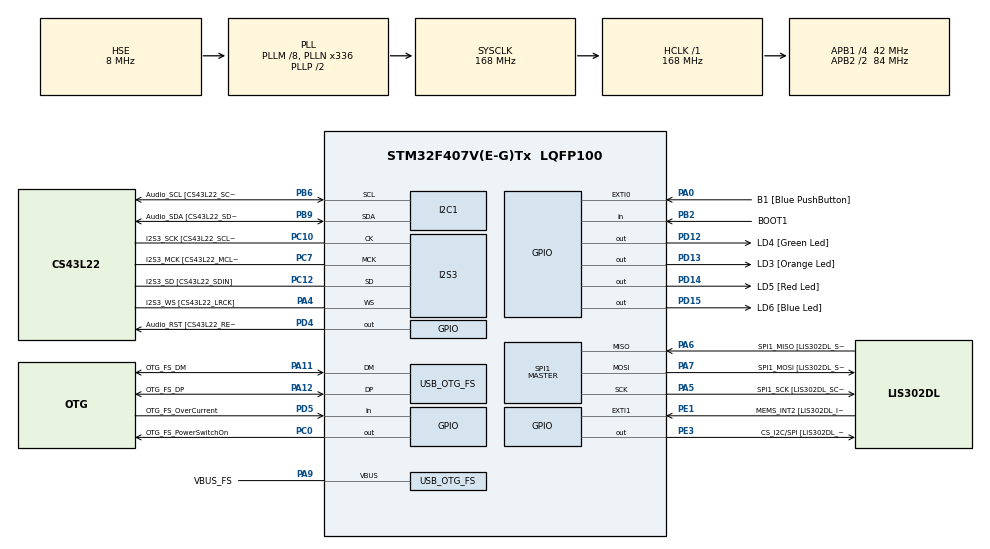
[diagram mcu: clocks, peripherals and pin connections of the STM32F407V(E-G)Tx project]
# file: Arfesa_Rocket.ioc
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I2S3.AudioFreq-Half_Duplex_Master=I2S_AUDIOFREQ_96K
I2S3.ErrorAudioFreq=-2.34 %
I2S3.ErrorAudioFreq-Half_Duplex_Master=0.8 %
I2S3.FullDuplexMode=I2S_FULLDUPLEXMODE_DISABLE
I2S3.Instance=SPI$Index
I2S3.RealAudioFreq=93.75 KHz
I2S3.RealAudioFreq-Half_Duplex_Master=96.774 KHz
I2S3.VirtualMode=I2S_MODE_MASTER
Mcu.Family=STM32F4
Mcu.Name=STM32F407V(E-G)Tx
Mcu.Package=LQFP100
NVIC.OTG_FS_IRQn=true\:0\:0\:false\:false\:true\:true\:true\:true
NVIC.PriorityGroup=NVIC_PRIORITYGROUP_0
PA0-WKUP.GPIO_Label=B1 [Blue PushButton]
PA0-WKUP.GPIO_ModeDefaultEXTI=GPIO_MODE_EVT_RISING
PA0-WKUP.GPIO_PuPd=GPIO_NOPULL
PA0-WKUP.Signal=GPXTI0
PA10.GPIO_Label=OTG_FS_ID
PA10.GPIO_Mode=GPIO_MODE_AF_PP
PA10.GPIO_PuPd=GPIO_NOPULL
PA10.GPIO_Speed=GPIO_SPEED_FREQ_LOW
PA10.Signal=USB_OTG_FS_ID
PA11.GPIO_Label=OTG_FS_DM
PA11.GPIO_Mode=GPIO_MODE_AF_PP
PA11.GPIO_PuPd=GPIO_NOPULL
PA11.GPIO_Speed=GPIO_SPEED_FREQ_LOW
PA11.Mode=Host_Only
PA11.Signal=USB_OTG_FS_DM
PA12.GPIO_Label=OTG_FS_DP
PA12.GPIO_Mode=GPIO_MODE_AF_PP
PA12.GPIO_PuPd=GPIO_NOPULL
PA12.GPIO_Speed=GPIO_SPEED_FREQ_LOW
PA12.Mode=Host_Only
PA12.Signal=USB_OTG_FS_DP
PA13.GPIO_Label=SWDIO
PA13.Mode=Serial_Wire
PA13.Signal=SYS_JTMS-SWDIO
PA14.GPIO_Label=SWCLK
PA14.Mode=Serial_Wire
PA14.Signal=SYS_JTCK-SWCLK
PA4.GPIO_Label=I2S3_WS [CS43L22_LRCK]
PA4.GPIO_Mode=GPIO_MODE_AF_PP
PA4.GPIO_PuPd=GPIO_NOPULL
PA4.GPIO_Speed=GPIO_SPEED_FREQ_LOW
PA4.Mode=Half_Duplex_Master
PA4.Signal=I2S3_WS
PA5.GPIO_Label=SPI1_SCK [LIS302DL_SCL/SPC]
PA5.GPIO_Mode=GPIO_MODE_AF_PP
PA5.GPIO_PuPd=GPIO_NOPULL
PA5.GPIO_Speed=GPIO_SPEED_FREQ_LOW
PA5.Mode=Full_Duplex_Master
PA5.Signal=SPI1_SCK
PA6.GPIO_Label=SPI1_MISO [LIS302DL_SDO]
PA6.GPIO_Mode=GPIO_MODE_AF_PP
PA6.GPIO_PuPd=GPIO_NOPULL
PA6.GPIO_Speed=GPIO_SPEED_FREQ_LOW
PA6.Mode=Full_Duplex_Master
PA6.Signal=SPI1_MISO
PA7.GPIO_Label=SPI1_MOSI [LIS302DL_SDA/SDI/SDO]
PA7.GPIO_Mode=GPIO_MODE_AF_PP
PA7.GPIO_PuPd=GPIO_NOPULL
PA7.GPIO_Speed=GPIO_SPEED_FREQ_LOW
PA7.Mode=Full_Duplex_Master
PA7.Signal=SPI1_MOSI
PA9.GPIO_Label=VBUS_FS
PA9.GPIO_Mode=GPIO_MODE_INPUT
PA9.GPIO_PuPd=GPIO_NOPULL
PA9.Mode=Activate_VBUS
PA9.Signal=USB_OTG_FS_VBUS
PB10.GPIO_Label=CLK_IN [MP45DT02_CLK]
PB10.GPIO_Mode=GPIO_MODE_AF_PP
PB10.GPIO_PuPd=GPIO_NOPULL
PB10.GPIO_Speed=GPIO_SPEED_FREQ_LOW
PB10.Signal=I2S2_CK
PB2.GPIO_Label=BOOT1
PB2.GPIO_Mode=GPIO_MODE_INPUT
PB2.GPIO_PuPd=GPIO_NOPULL
PB2.Signal=GPIO_Input
PB3.GPIO_Label=SWO
PB3.Signal=SYS_JTDO-SWO
PB6.GPIO_Label=Audio_SCL [CS43L22_SCL]
PB6.GPIO_Mode=GPIO_MODE_AF_OD
PB6.GPIO_Pu=GPIO_PULLUP
PB6.GPIO_PuPd=GPIO_NOPULL
PB6.GPIO_Speed=GPIO_SPEED_FREQ_LOW
PB6.Mode=I2C
PB6.Signal=I2C1_SCL
PB9.GPIO_Label=Audio_SDA [CS43L22_SDA]
PB9.GPIO_Mode=GPIO_MODE_AF_OD
PB9.GPIO_Pu=GPIO_PULLUP
PB9.GPIO_PuPd=GPIO_NOPULL
PB9.GPIO_Speed=GPIO_SPEED_FREQ_LOW
PB9.Mode=I2C
PB9.Signal=I2C1_SDA
PC0.GPIO_Label=OTG_FS_PowerSwitchOn
PC0.GPIO_PuPd=GPIO_NOPULL
PC0.GPIO_Speed=GPIO_SPEED_FREQ_LOW
PC0.PinState=GPIO_PIN_SET
PC0.Signal=GPIO_Output
PC10.GPIO_Label=I2S3_SCK [CS43L22_SCLK]
PC10.GPIO_Mode=GPIO_MODE_AF_PP
PC10.GPIO_PuPd=GPIO_NOPULL
PC10.GPIO_Speed=GPIO_SPEED_FREQ_LOW
PC10.Mode=Half_Duplex_Master
PC10.Signal=I2S3_CK
PC12.GPIO_Label=I2S3_SD [CS43L22_SDIN]
PC12.GPIO_Mode=GPIO_MODE_AF_PP
PC12.GPIO_PuPd=GPIO_NOPULL
PC12.GPIO_Speed=GPIO_SPEED_FREQ_LOW
PC12.Mode=Half_Duplex_Master
PC12.Signal=I2S3_SD
PC14-OSC32_IN.GPIO_Label=PC14-OSC32_IN
PC14-OSC32_IN.Mode=LSE-External-Oscillator
PC14-OSC32_IN.Signal=RCC_OSC32_IN
PC15-OSC32_OUT.GPIO_Label=PC15-OSC32_OUT
PC15-OSC32_OUT.Mode=LSE-External-Oscillator
PC15-OSC32_OUT.Signal=RCC_OSC32_OUT
PC3.GPIO_Label=PDM_OUT [MP45DT02_DOUT]
PC3.GPIO_Mode=GPIO_MODE_AF_PP
PC3.GPIO_PuPd=GPIO_NOPULL
PC3.GPIO_Speed=GPIO_SPEED_FREQ_LOW
PC3.Signal=I2S2_SD
PC7.GPIO_Label=I2S3_MCK [CS43L22_MCLK]
PC7.GPIO_Mode=GPIO_MODE_AF_PP
PC7.GPIO_PuPd=GPIO_NOPULL
PC7.GPIO_Speed=GPIO_SPEED_FREQ_LOW
PC7.Mode=Master_Clock_Activated
PC7.Signal=I2S3_MCK
PD12.GPIO_Label=LD4 [Green Led]
PD12.GPIO_PuPd=GPIO_NOPULL
PD12.GPIO_Speed=GPIO_SPEED_FREQ_LOW
PD12.Signal=GPIO_Output
PD13.GPIO_Label=LD3 [Orange Led]
PD13.GPIO_PuPd=GPIO_NOPULL
PD13.GPIO_Speed=GPIO_SPEED_FREQ_LOW
PD13.Signal=GPIO_Output
PD14.GPIO_Label=LD5 [Red Led]
PD14.GPIO_PuPd=GPIO_NOPULL
PD14.GPIO_Speed=GPIO_SPEED_FREQ_LOW
PD14.Signal=GPIO_Output
PD15.GPIO_Label=LD6 [Blue Led]
PD15.GPIO_PuPd=GPIO_NOPULL
PD15.GPIO_Speed=GPIO_SPEED_FREQ_LOW
PD15.Signal=GPIO_Output
PD4.GPIO_Label=Audio_RST [CS43L22_RESET]
PD4.GPIO_PuPd=GPIO_NOPULL
PD4.GPIO_Speed=GPIO_SPEED_FREQ_LOW
PD4.Signal=GPIO_Output
PD5.GPIO_Label=OTG_FS_OverCurrent
PD5.GPIO_Mode=GPIO_MODE_INPUT
PD5.GPIO_PuPd=GPIO_NOPULL
PD5.Signal=GPIO_Input
PE1.GPIO_Label=MEMS_INT2 [LIS302DL_INT2]
PE1.GPIO_ModeDefaultEXTI=GPIO_MODE_EVT_RISING
PE1.GPIO_PuPd=GPIO_NOPULL
PE1.Signal=GPXTI1
PE3.GPIO_Label=CS_I2C/SPI [LIS302DL_CS_I2C/SPI]
PE3.GPIO_PuPd=GPIO_NOPULL
PE3.GPIO_Speed=GPIO_SPEED_FREQ_LOW
PE3.Signal=GPIO_Output
PH0-OSC_IN.GPIO_Label=PH0-OSC_IN
PH0-OSC_IN.Mode=HSE-External-Oscillator
PH0-OSC_IN.Signal=RCC_OSC_IN
PH1-OSC_OUT.GPIO_Label=PH1-OSC_OUT
PH1-OSC_OUT.Mode=HSE-External-Oscillator
PH1-OSC_OUT.Signal=RCC_OSC_OUT
ProjectManager.HeapSize=0x200
ProjectManager.StackSize=0x400
ProjectManager.TargetToolchain=STM32CubeIDE
RCC.48MHZClocksFreq_Value=48000000
RCC.AHBFreq_Value=168000000
RCC.APB1CLKDivider=RCC_HCLK_DIV4
RCC.APB1Freq_Value=42000000
RCC.APB1TimFreq_Value=84000000
RCC.APB2CLKDivider=RCC_HCLK_DIV2
RCC.APB2Freq_Value=84000000
RCC.APB2TimFreq_Value=168000000
RCC.CortexFreq_Value=168000000
RCC.HCLKFreq_Value=168000000
RCC.HSE_VALUE=8000000
RCC.HSI_VALUE=16000000
RCC.PLLM=8
RCC.PLLN=336
RCC.PLLQ=7
RCC.SYSCLKFreq_VALUE=168000000
RCC.SYSCLKSource=RCC_SYSCLKSOURCE_PLLCLK
RCC.VCOOutputFreq_Value=336000000
SPI1.BaudRatePrescaler-Full_Duplex_Master=SPI_BAUDRATEPRESCALER_2
SPI1.CalculateBaudRate-Full_Duplex_Master=42.0 MBits/s
SPI1.Direction=SPI_DIRECTION_2LINES
SPI1.Mode=SPI_MODE_MASTER
SPI1.Mode-Full_Duplex_Master=SPI_MODE_MASTER
SPI1.VirtualType=VM_MASTER
USB_HOST.BSP.number=1
USB_HOST.USBH_HandleTypeDef-CDC_FS=hUsbHostFS
USB_HOST.VirtualModeFS=Cdc
USB_HOST0.BSP.STBoard=false
USB_HOST0.BSP.api=Unknown
USB_HOST0.BSP.instance=PC0
USB_HOST0.BSP.ip=GPIO
USB_HOST0.BSP.mode=Output
USB_HOST0.BSP.name=Drive_VBUS_FS
USB_HOST0.BSP.solution=PC0
USB_OTG_FS.VirtualMode=Host_Only
USB_OTG_FS.phy_itface=HCD_PHY_EMBEDDED
VP_USB_HOST_VS_USB_HOST_CDC_FS.Mode=CDC_FS
board=STM32F407G-DISC1

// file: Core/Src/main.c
/* USER CODE BEGIN Header */
/**
  ******************************************************************************
  * @file           : main.c
  * @brief          : Main program body
  ******************************************************************************
  * @attention
  *
  * Copyright (c) 2025 STMicroelectronics.
  * All rights reserved.
  *
  * This software is licensed under terms that can be found in the LICENSE file
  * in the root directory of this software component.
  * If no LICENSE file comes with this software, it is provided AS-IS.
  *
  ******************************************************************************
  */
/* USER CODE END Header */
#include "main.h"

/* USER CODE BEGIN Includes */
#include "mpu6050.h"

/* USER CODE END Includes */

I2C_HandleTypeDef hi2c1;

I2S_HandleTypeDef hi2s3;

SPI_HandleTypeDef hspi1;

HCD_HandleTypeDef hhcd_USB_OTG_FS;

/* USER CODE BEGIN PV */

uint8_t deviceAddress;
int16_t accelData[3];
int16_t gyroData[3];
int16_t tempData;
float temperature;
float accelDataInG[3];
float gyroDataIns[3];
/* USER CODE END PV */

void SystemClock_Config(void);
static void MX_GPIO_Init(void);
static void MX_I2C1_Init(void);
static void MX_I2S3_Init(void);
static void MX_SPI1_Init(void);
static void MX_USB_OTG_FS_HCD_Init(void);

int main(void)
{

  /* MCU Configuration--------------------------------------------------------*/

  /* Reset of all peripherals, Initializes the Flash interface and the Systick. */
  HAL_Init();

  /* Configure the system clock */
  SystemClock_Config();

  /* Initialize all configured peripherals */
  MX_GPIO_Init();
  MX_I2C1_Init();
  MX_I2S3_Init();
  MX_SPI1_Init();
  MX_USB_OTG_FS_HCD_Init();
  /* USER CODE BEGIN 2 */

  deviceAddress = MPU6050_ScanDeviceID(&hi2c1);
  MPU6050_Init(&hi2c1, MPU6050_ACCEL_RANGE_8G, MPU6050_GYRO_RANGE_1000 );

  /* USER CODE END 2 */

  /* Infinite loop */
  while (1)
  {

    /* USER CODE BEGIN 3 */
	  MPU6050_getAccelValue(&hi2c1, accelData);//accelData array olduğundan adres eklemeye gerek yok.
	  MPU6050_getGyroValue(&hi2c1, gyroData);
	  temperature = MPU6050_getTempValue(&hi2c1, &tempData);

	  MPU6050_getAccelInG(accelData, MPU6050_ACCEL_RANGE_8G, accelDataInG);
      MPU6050_getGyroIns(gyroData, MPU6050_GYRO_RANGE_1000, gyroDataIns);

  }
  /* USER CODE END 3 */
}

void SystemClock_Config(void)
{
  RCC_OscInitTypeDef RCC_OscInitStruct = {0};
  RCC_ClkInitTypeDef RCC_ClkInitStruct = {0};

  /** Configure the main internal regulator output voltage
  */
  __HAL_RCC_PWR_CLK_ENABLE();
  __HAL_PWR_VOLTAGESCALING_CONFIG(PWR_REGULATOR_VOLTAGE_SCALE1);

  /** Initializes the RCC Oscillators according to the specified parameters
  * in the RCC_OscInitTypeDef structure.
  */
  RCC_OscInitStruct.OscillatorType = RCC_OSCILLATORTYPE_HSE;
  RCC_OscInitStruct.HSEState = RCC_HSE_ON;
  RCC_OscInitStruct.PLL.PLLState = RCC_PLL_ON;
  RCC_OscInitStruct.PLL.PLLSource = RCC_PLLSOURCE_HSE;
  RCC_OscInitStruct.PLL.PLLM = 8;
  RCC_OscInitStruct.PLL.PLLN = 336;
  RCC_OscInitStruct.PLL.PLLP = RCC_PLLP_DIV2;
  RCC_OscInitStruct.PLL.PLLQ = 7;
  if (HAL_RCC_OscConfig(&RCC_OscInitStruct) != HAL_OK)
  {
    Error_Handler();
  }

  /** Initializes the CPU, AHB and APB buses clocks
  */
  RCC_ClkInitStruct.ClockType = RCC_CLOCKTYPE_HCLK|RCC_CLOCKTYPE_SYSCLK
                              |RCC_CLOCKTYPE_PCLK1|RCC_CLOCKTYPE_PCLK2;
  RCC_ClkInitStruct.SYSCLKSource = RCC_SYSCLKSOURCE_PLLCLK;
  RCC_ClkInitStruct.AHBCLKDivider = RCC_SYSCLK_DIV1;
  RCC_ClkInitStruct.APB1CLKDivider = RCC_HCLK_DIV4;
  RCC_ClkInitStruct.APB2CLKDivider = RCC_HCLK_DIV2;

  if (HAL_RCC_ClockConfig(&RCC_ClkInitStruct, FLASH_LATENCY_5) != HAL_OK)
  {
    Error_Handler();
  }
}

static void MX_I2C1_Init(void)
{

  hi2c1.Instance = I2C1;
  hi2c1.Init.ClockSpeed = 100000;
  hi2c1.Init.DutyCycle = I2C_DUTYCYCLE_2;
  hi2c1.Init.OwnAddress1 = 0;
  hi2c1.Init.AddressingMode = I2C_ADDRESSINGMODE_7BIT;
  hi2c1.Init.DualAddressMode = I2C_DUALADDRESS_DISABLE;
  hi2c1.Init.OwnAddress2 = 0;
  hi2c1.Init.GeneralCallMode = I2C_GENERALCALL_DISABLE;
  hi2c1.Init.NoStretchMode = I2C_NOSTRETCH_DISABLE;
  if (HAL_I2C_Init(&hi2c1) != HAL_OK)
  {
    Error_Handler();
  }

}

static void MX_I2S3_Init(void)
{

  hi2s3.Instance = SPI3;
  hi2s3.Init.Mode = I2S_MODE_MASTER_TX;
  hi2s3.Init.Standard = I2S_STANDARD_PHILIPS;
  hi2s3.Init.DataFormat = I2S_DATAFORMAT_16B;
  hi2s3.Init.MCLKOutput = I2S_MCLKOUTPUT_ENABLE;
  hi2s3.Init.AudioFreq = I2S_AUDIOFREQ_96K;
  hi2s3.Init.CPOL = I2S_CPOL_LOW;
  hi2s3.Init.ClockSource = I2S_CLOCK_PLL;
  hi2s3.Init.FullDuplexMode = I2S_FULLDUPLEXMODE_DISABLE;
  if (HAL_I2S_Init(&hi2s3) != HAL_OK)
  {
    Error_Handler();
  }

}

static void MX_SPI1_Init(void)
{

  /* SPI1 parameter configuration*/
  hspi1.Instance = SPI1;
  hspi1.Init.Mode = SPI_MODE_MASTER;
  hspi1.Init.Direction = SPI_DIRECTION_2LINES;
  hspi1.Init.DataSize = SPI_DATASIZE_8BIT;
  hspi1.Init.CLKPolarity = SPI_POLARITY_LOW;
  hspi1.Init.CLKPhase = SPI_PHASE_1EDGE;
  hspi1.Init.NSS = SPI_NSS_SOFT;
  hspi1.Init.BaudRatePrescaler = SPI_BAUDRATEPRESCALER_2;
  hspi1.Init.FirstBit = SPI_FIRSTBIT_MSB;
  hspi1.Init.TIMode = SPI_TIMODE_DISABLE;
  hspi1.Init.CRCCalculation = SPI_CRCCALCULATION_DISABLE;
  hspi1.Init.CRCPolynomial = 10;
  if (HAL_SPI_Init(&hspi1) != HAL_OK)
  {
    Error_Handler();
  }

}

static void MX_USB_OTG_FS_HCD_Init(void)
{

  hhcd_USB_OTG_FS.Instance = USB_OTG_FS;
  hhcd_USB_OTG_FS.Init.Host_channels = 8;
  hhcd_USB_OTG_FS.Init.speed = HCD_SPEED_FULL;
  hhcd_USB_OTG_FS.Init.dma_enable = DISABLE;
  hhcd_USB_OTG_FS.Init.phy_itface = HCD_PHY_EMBEDDED;
  hhcd_USB_OTG_FS.Init.Sof_enable = DISABLE;
  if (HAL_HCD_Init(&hhcd_USB_OTG_FS) != HAL_OK)
  {
    Error_Handler();
  }

}

static void MX_GPIO_Init(void)
{
  GPIO_InitTypeDef GPIO_InitStruct = {0};

  /* GPIO Ports Clock Enable */
  __HAL_RCC_GPIOE_CLK_ENABLE();
  __HAL_RCC_GPIOC_CLK_ENABLE();
  __HAL_RCC_GPIOH_CLK_ENABLE();
  __HAL_RCC_GPIOA_CLK_ENABLE();
  __HAL_RCC_GPIOB_CLK_ENABLE();
  __HAL_RCC_GPIOD_CLK_ENABLE();

  /*Configure GPIO pin Output Level */
  HAL_GPIO_WritePin(CS_I2C_SPI_GPIO_Port, CS_I2C_SPI_Pin, GPIO_PIN_RESET);

  /*Configure GPIO pin Output Level */
  HAL_GPIO_WritePin(OTG_FS_PowerSwitchOn_GPIO_Port, OTG_FS_PowerSwitchOn_Pin, GPIO_PIN_SET);

  /*Configure GPIO pin Output Level */
  HAL_GPIO_WritePin(GPIOD, LD4_Pin|LD3_Pin|LD5_Pin|LD6_Pin
                          |Audio_RST_Pin, GPIO_PIN_RESET);

  /*Configure GPIO pin : CS_I2C_SPI_Pin */
  GPIO_InitStruct.Pin = CS_I2C_SPI_Pin;
  GPIO_InitStruct.Mode = GPIO_MODE_OUTPUT_PP;
  GPIO_InitStruct.Pull = GPIO_NOPULL;
  GPIO_InitStruct.Speed = GPIO_SPEED_FREQ_LOW;
  HAL_GPIO_Init(CS_I2C_SPI_GPIO_Port, &GPIO_InitStruct);

  /*Configure GPIO pin : OTG_FS_PowerSwitchOn_Pin */
  GPIO_InitStruct.Pin = OTG_FS_PowerSwitchOn_Pin;
  GPIO_InitStruct.Mode = GPIO_MODE_OUTPUT_PP;
  GPIO_InitStruct.Pull = GPIO_NOPULL;
  GPIO_InitStruct.Speed = GPIO_SPEED_FREQ_LOW;
  HAL_GPIO_Init(OTG_FS_PowerSwitchOn_GPIO_Port, &GPIO_InitStruct);

  /*Configure GPIO pin : PDM_OUT_Pin */
  GPIO_InitStruct.Pin = PDM_OUT_Pin;
  GPIO_InitStruct.Mode = GPIO_MODE_AF_PP;
  GPIO_InitStruct.Pull = GPIO_NOPULL;
  GPIO_InitStruct.Speed = GPIO_SPEED_FREQ_LOW;
  GPIO_InitStruct.Alternate = GPIO_AF5_SPI2;
  HAL_GPIO_Init(PDM_OUT_GPIO_Port, &GPIO_InitStruct);

  /*Configure GPIO pin : B1_Pin */
  GPIO_InitStruct.Pin = B1_Pin;
  GPIO_InitStruct.Mode = GPIO_MODE_EVT_RISING;
  GPIO_InitStruct.Pull = GPIO_NOPULL;
  HAL_GPIO_Init(B1_GPIO_Port, &GPIO_InitStruct);

  /*Configure GPIO pin : BOOT1_Pin */
  GPIO_InitStruct.Pin = BOOT1_Pin;
  GPIO_InitStruct.Mode = GPIO_MODE_INPUT;
  GPIO_InitStruct.Pull = GPIO_NOPULL;
  HAL_GPIO_Init(BOOT1_GPIO_Port, &GPIO_InitStruct);

  /*Configure GPIO pin : CLK_IN_Pin */
  GPIO_InitStruct.Pin = CLK_IN_Pin;
  GPIO_InitStruct.Mode = GPIO_MODE_AF_PP;
  GPIO_InitStruct.Pull = GPIO_NOPULL;
  GPIO_InitStruct.Speed = GPIO_SPEED_FREQ_LOW;
  GPIO_InitStruct.Alternate = GPIO_AF5_SPI2;
  HAL_GPIO_Init(CLK_IN_GPIO_Port, &GPIO_InitStruct);

  /*Configure GPIO pins : LD4_Pin LD3_Pin LD5_Pin LD6_Pin
                           Audio_RST_Pin */
  GPIO_InitStruct.Pin = LD4_Pin|LD3_Pin|LD5_Pin|LD6_Pin
                          |Audio_RST_Pin;
  GPIO_InitStruct.Mode = GPIO_MODE_OUTPUT_PP;
  GPIO_InitStruct.Pull = GPIO_NOPULL;
  GPIO_InitStruct.Speed = GPIO_SPEED_FREQ_LOW;
  HAL_GPIO_Init(GPIOD, &GPIO_InitStruct);

  /*Configure GPIO pin : OTG_FS_OverCurrent_Pin */
  GPIO_InitStruct.Pin = OTG_FS_OverCurrent_Pin;
  GPIO_InitStruct.Mode = GPIO_MODE_INPUT;
  GPIO_InitStruct.Pull = GPIO_NOPULL;
  HAL_GPIO_Init(OTG_FS_OverCurrent_GPIO_Port, &GPIO_InitStruct);

  /*Configure GPIO pin : MEMS_INT2_Pin */
  GPIO_InitStruct.Pin = MEMS_INT2_Pin;
  GPIO_InitStruct.Mode = GPIO_MODE_EVT_RISING;
  GPIO_InitStruct.Pull = GPIO_NOPULL;
  HAL_GPIO_Init(MEMS_INT2_GPIO_Port, &GPIO_InitStruct);

}

void Error_Handler(void)
{
  __disable_irq();
  while (1)
  {
  }
}
